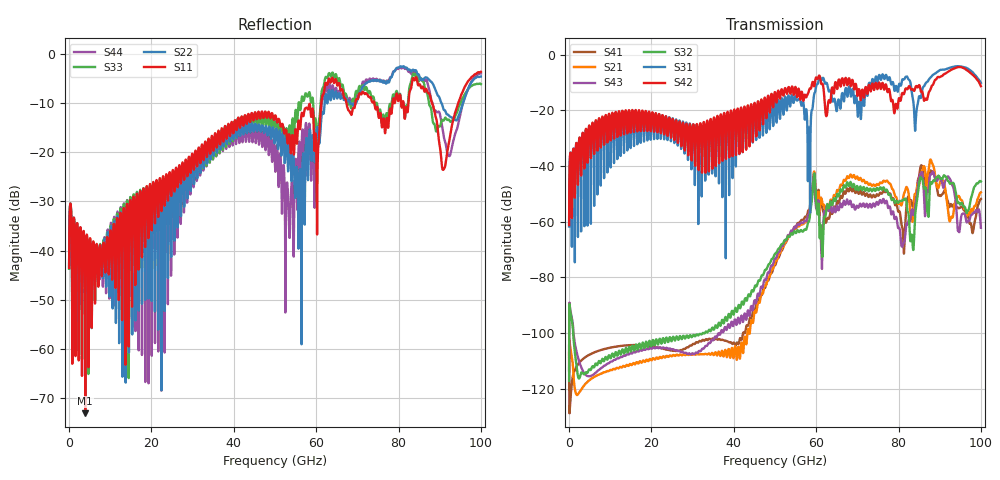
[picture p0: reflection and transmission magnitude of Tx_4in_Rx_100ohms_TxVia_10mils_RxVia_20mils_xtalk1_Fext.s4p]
! Info: Touchstone file created by Circ.  Input file=Tx_4in_Rx_100ohms_TxVia_10mils_RxVia_20mils.circ
# Hz S RI R 50
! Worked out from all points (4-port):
!   10000 points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, 10 MHz to 100 GHz, reference 50 ohm
!   strongest paths, dB at 10 MHz, 25.01 GHz, 50.01 GHz, 75.01 GHz, 100 GHz:
!     S42: -61.2, -24.3, -13.5, -11.6, -11.4
!     S31: -61.7, -23.9, -17.0, -9.2, -10.2
!     S32: -117.2, -102.5, -71.5, -48.4, -45.6
!     S43: -113.3, -105.8, -73.3, -53.9, -62.2
!     S21: -107.1, -108.3, -74.7, -46.7, -49.5
!     S41: -104.5, -106.3, -75.7, -50.6, -51.8
!   lowest |S11| = -73.1 dB at 3.92 GHz (marker M1), VSWR 1.00, Z = 50 - j0.0207 ohm
!   |S11| at or under -10 dB: start of sweep to 61.23 GHz; 74.15 GHz to 78.53 GHz (4.386 GHz wide, 5.75 % of centre); 88.15 GHz to 94.48 GHz (6.335 GHz wide, 6.94 % of centre)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
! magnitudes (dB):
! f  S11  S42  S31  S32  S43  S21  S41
! 10 MHz  -43.5  -61.2  -61.7  -117.2  -113.3  -107.1  -104.5
! 3.92 GHz  -73.1  -29.3  -29.6  -114.4  -114.8  -118.3  -108.7
! 48.27 GHz  -12.2  -15.0  -18.2  -75.8  -78.3  -80.5  -81.2
! 59.33 GHz  -13.1  -10.5  -16.4  -45.2  -44.9  -44.1  -43.8
! 83.28 GHz  -5.7  -12.4  -14.2  -65.2  -55.7  -59.2  -53.6
! 85.43 GHz  -6.7  -13.3  -15.6  -44.1  -42.7  -43.2  -39.9
! 100 GHz  -3.6  -11.4  -10.2  -45.6  -62.2  -49.5  -51.8
